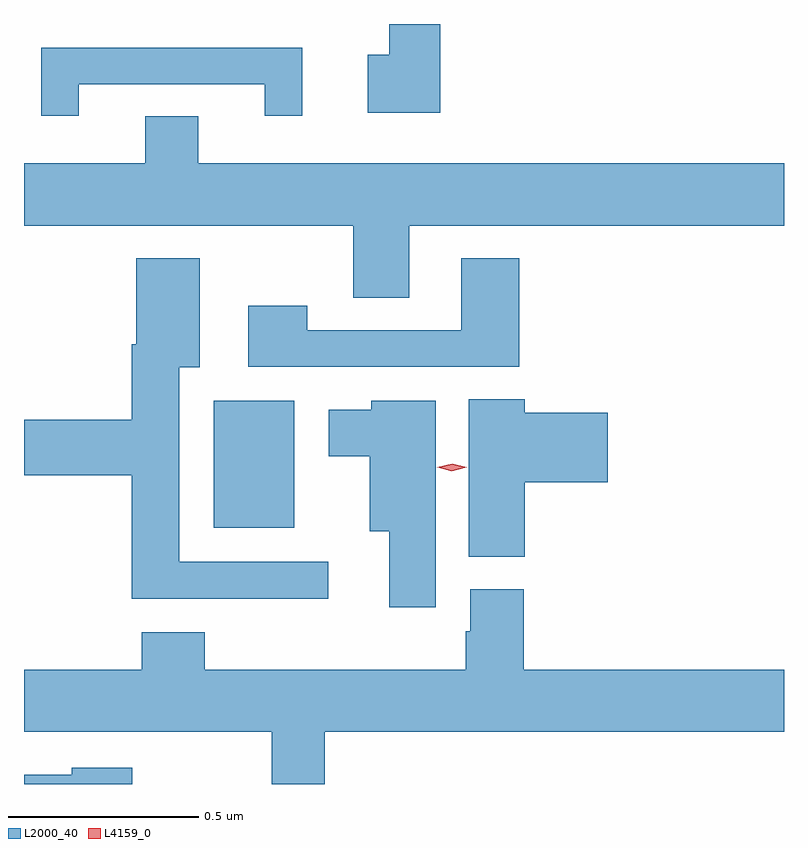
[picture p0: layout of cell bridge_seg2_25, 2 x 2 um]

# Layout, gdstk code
import gdstk
lib = gdstk.Library(unit=1e-6, precision=1e-09)
def R(c, l, rs):  # rectangles x0, y0, x1, y1
    for r in rs: c.add(gdstk.rectangle(r[:2], r[2:], *l))
def P(c, l, *ps):  # polygons
    for p in ps: c.add(gdstk.Polygon(p, *l))
L2000_40 = (2000, 40)
L4159_0 = (4159, 0)

bridge_seg2_25 = lib.new_cell('bridge_seg2_25')
R(bridge_seg2_25, L2000_40, [(670.616,648.173,670.828,648.508)])
P(bridge_seg2_25, L2000_40, [(671.213,649.499),(671.078,649.499),(671.078,649.418),(671.022,649.418),(671.022,649.265),(671.213,649.265)],
  [(670.261,649.341),(670.751,649.341),(670.751,649.257),(670.849,649.257),(670.849,649.437),(670.163,649.437),(670.163,649.257),(670.261,649.257)],
  [(671.131,648.968),(672.117,648.968),(672.117,649.132),(670.576,649.132),(670.576,649.256),(670.436,649.256),(670.436,649.132),(670.117,649.132),(670.117,648.968),(670.984,648.968),(670.984,648.778),(671.131,648.778)],
  [(670.918,648.084),(670.525,648.084),(670.525,648.596),(670.579,648.596),(670.579,648.883),(670.412,648.883),(670.412,648.656),(670.4,648.656),(670.4,648.458),(670.117,648.458),(670.117,648.311),(670.4,648.311),(670.4,647.987),(670.918,647.987)],
  [(671.42,648.883),(671.267,648.883),(671.267,648.693),(670.863,648.693),(670.863,648.757),(670.707,648.757),(670.707,648.597),(671.42,648.597)],
  [(671.435,648.293),(671.653,648.293),(671.653,648.476),(671.435,648.476),(671.435,648.512),(671.288,648.512),(671.288,648.097),(671.435,648.097)],
  [(671.2,648.508),(671.031,648.508),(671.031,648.484),(670.919,648.484),(670.919,648.362),(671.027,648.362),(671.027,648.164),(671.078,648.164),(671.078,647.964),(671.2,647.964)],
  [(670.909,647.636),(672.117,647.636),(672.117,647.8),(671.432,647.8),(671.432,648.012),(671.291,648.012),(671.291,647.901),(671.279,647.901),(671.279,647.8),(670.592,647.8),(670.592,647.899),(670.427,647.899),(670.427,647.8),(670.117,647.8),(670.117,647.636),(670.769,647.636),(670.769,647.499),(670.909,647.499)],
  [(670.402,647.542),(670.242,647.542),(670.242,647.524),(670.117,647.524),(670.117,647.499),(670.402,647.499)])
P(bridge_seg2_25, L4159_0, [(671.243,648.322),(671.205,648.332),(671.205,648.333),(671.205,648.333),(671.244,648.342),(671.282,648.332),(671.282,648.332),(671.282,648.332)])

lib.write_gds('bridge_seg2_25.gds')
